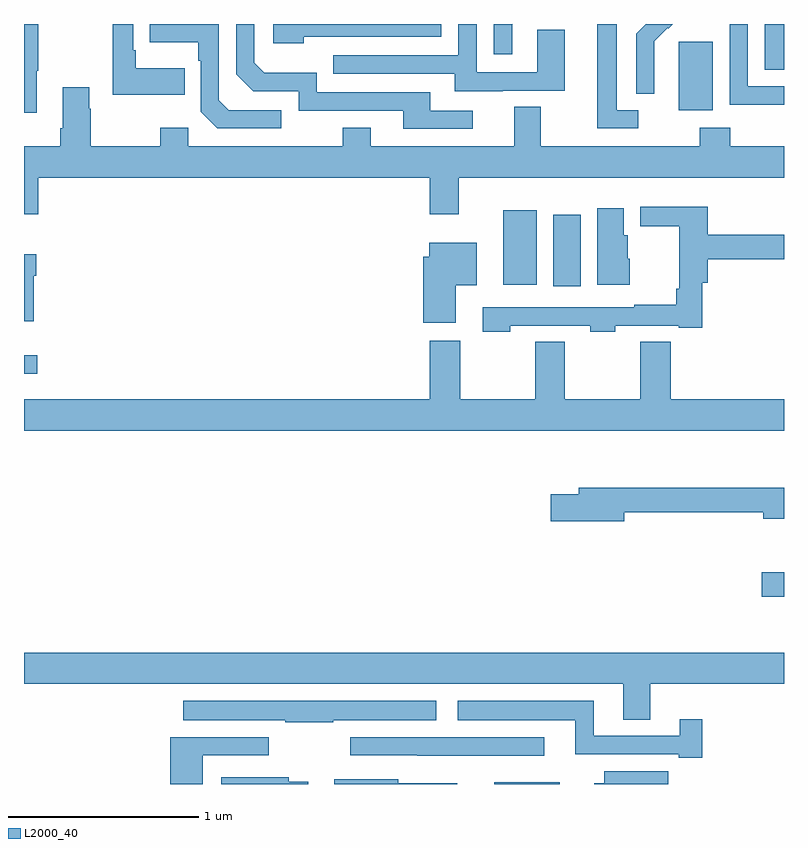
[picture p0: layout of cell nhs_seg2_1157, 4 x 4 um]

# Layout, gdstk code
import gdstk
lib = gdstk.Library(unit=1e-6, precision=1e-09)
def R(c, l, rs):  # rectangles x0, y0, x1, y1
    for r in rs: c.add(gdstk.rectangle(r[:2], r[2:], *l))
def P(c, l, *ps):  # polygons
    for p in ps: c.add(gdstk.Polygon(p, *l))
L2000_40 = (2000, 40)

nhs_seg2_1157 = lib.new_cell('nhs_seg2_1157')
R(nhs_seg2_1157, L2000_40, [(173.474,621.8,173.821,621.808), (174.882,622.786,175,622.915), (171,623.96,171.07,624.057), (173.786,624.42,173.929,624.796), (173.522,624.428,173.698,624.82), (174.446,625.346,174.625,625.707), (174.899,625.558,175,625.8)])
P(nhs_seg2_1157, L2000_40, [(174.232,625.347),(174.121,625.347),(174.121,625.8),(174.017,625.8),(174.017,625.251),(174.232,625.251)],
  [(173.569,625.797),(173.572,625.8),(173.472,625.8),(173.472,625.641),(173.569,625.641)],
  [(173.521,625.449),(173.845,625.449),(173.845,625.769),(173.7,625.769),(173.7,625.545),(173.382,625.545),(173.382,625.8),(173.286,625.8),(173.286,625.635),(172.627,625.635),(172.627,625.539),(173.267,625.539),(173.267,625.445),(173.521,625.445)],
  [(172.354,625.347),(172.077,625.347),(172.026,625.398),(172.026,625.8),(171.661,625.8),(171.661,625.703),(171.918,625.703),(171.918,625.607),(171.93,625.607),(171.93,625.338),(172.017,625.251),(172.354,625.251)],
  [(171.067,625.555),(171.075,625.555),(171.075,625.8),(171,625.8),(171,625.332),(171.067,625.332)],
  [(172.472,625.734),(173.196,625.734),(173.196,625.8),(172.311,625.8),(172.311,625.7),(172.472,625.7)],
  [(174.318,625.586),(174.317,625.586),(174.317,625.709),(174.387,625.779),(174.39,625.776),(174.414,625.8),(174.272,625.8),(174.222,625.75),(174.222,625.432),(174.318,625.432)],
  [(175,625.473),(174.81,625.473),(174.81,625.8),(174.714,625.8),(174.714,625.375),(175,625.375)],
  [(171.845,625.567),(171.589,625.567),(171.589,625.663),(171.576,625.663),(171.576,625.8),(171.468,625.8),(171.468,625.427),(171.845,625.427)],
  [(173.362,625.344),(173.137,625.344),(173.137,625.44),(172.542,625.44),(172.542,625.543),(172.265,625.543),(172.212,625.596),(172.212,625.8),(172.116,625.8),(172.116,625.536),(172.206,625.446),(172.446,625.446),(172.446,625.344),(172.997,625.344),(172.997,625.248),(173.362,625.248)],
  [(171.074,624.992),(173.135,624.992),(173.135,624.798),(173.287,624.798),(173.287,624.992),(175,624.992),(175,625.156),(174.716,625.156),(174.716,625.255),(174.556,625.255),(174.556,625.156),(173.719,625.156),(173.719,625.364),(173.579,625.364),(173.579,625.156),(172.825,625.156),(172.825,625.255),(172.678,625.255),(172.678,625.156),(171.864,625.156),(171.864,625.255),(171.718,625.255),(171.718,625.156),(171.351,625.156),(171.351,625.355),(171.343,625.355),(171.343,625.468),(171.203,625.468),(171.203,625.252),(171.191,625.252),(171.191,625.156),(171,625.156),(171,624.798),(171.074,624.798)],
  [(173.559,624.213),(173.979,624.213),(173.979,624.181),(174.111,624.181),(174.111,624.213),(174.446,624.213),(174.446,624.201),(174.569,624.201),(174.569,624.437),(174.599,624.437),(174.599,624.562),(175,624.562),(175,624.691),(174.599,624.691),(174.599,624.838),(174.243,624.838),(174.243,624.736),(174.448,624.736),(174.448,624.406),(174.433,624.406),(174.433,624.322),(174.211,624.322),(174.211,624.309),(173.415,624.309),(173.415,624.181),(173.559,624.181)],
  [(174.187,624.564),(174.178,624.564),(174.178,624.687),(174.157,624.687),(174.157,624.829),(174.017,624.829),(174.017,624.428),(174.187,624.428)],
  [(173.272,624.425),(173.383,624.425),(173.383,624.649),(173.132,624.649),(173.132,624.576),(173.102,624.576),(173.102,624.228),(173.272,624.228)],
  [(171.052,624.476),(171.065,624.476),(171.065,624.589),(171,624.589),(171,624.236),(171.052,624.236)],
  [(175,623.824),(174.404,623.824),(174.404,624.128),(174.244,624.128),(174.244,623.824),(173.846,623.824),(173.846,624.128),(173.692,624.128),(173.692,623.824),(173.295,623.824),(173.295,624.133),(173.135,624.133),(173.135,623.824),(171,623.824),(171,623.66),(175,623.66)],
  [(174.16,623.23),(174.89,623.23),(174.89,623.195),(175,623.195),(175,623.359),(173.921,623.359),(173.921,623.325),(173.772,623.325),(173.772,623.183),(174.16,623.183)],
  [(174.295,622.328),(175,622.328),(175,622.492),(171,622.492),(171,622.328),(174.155,622.328),(174.155,622.138),(174.295,622.138)],
  [(174.569,622.141),(174.452,622.141),(174.452,622.053),(173.998,622.053),(173.998,622.237),(173.283,622.237),(173.283,622.136),(173.9,622.136),(173.9,621.957),(174.446,621.957),(174.446,621.937),(174.569,621.937)],
  [(172.628,622.136),(173.17,622.136),(173.17,622.237),(171.837,622.237),(171.837,622.136),(172.375,622.136),(172.375,622.126),(172.628,622.126)],
  [(173.737,622.047),(172.716,622.047),(172.716,621.951),(173.071,621.951),(173.071,621.95),(173.737,621.95)],
  [(171.94,621.951),(172.288,621.951),(172.288,622.047),(171.77,622.047),(171.77,621.8),(171.94,621.8)],
  [(174.391,621.868),(174.053,621.868),(174.053,621.805),(174.002,621.805),(174.002,621.8),(174.391,621.8)],
  [(172.495,621.813),(172.393,621.813),(172.393,621.835),(172.037,621.835),(172.037,621.8),(172.495,621.8)],
  [(173.281,621.805),(172.971,621.805),(172.971,621.826),(172.634,621.826),(172.634,621.8),(173.281,621.8)])

lib.write_gds('nhs_seg2_1157.gds')
